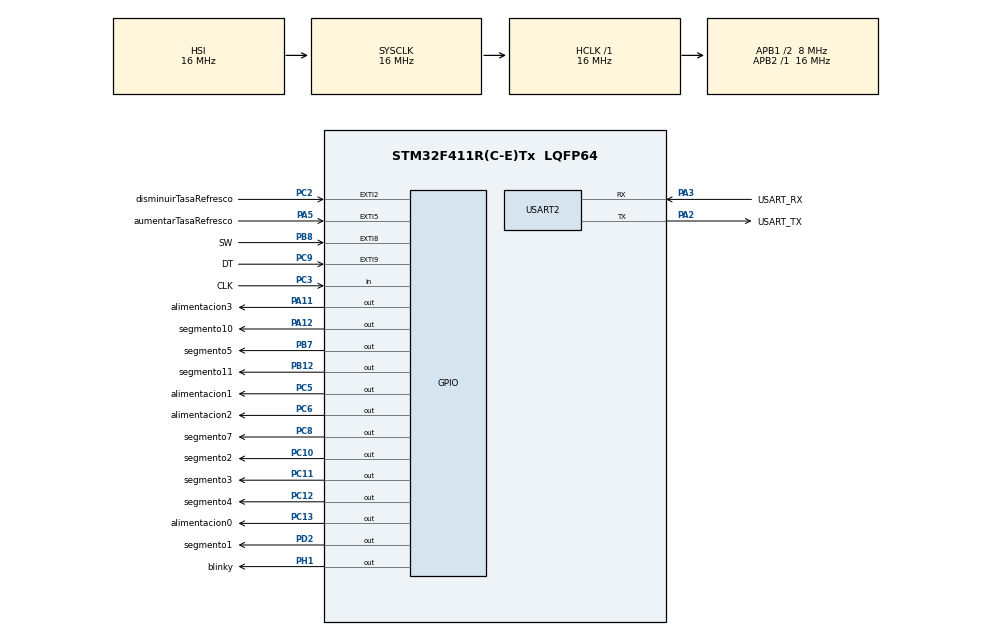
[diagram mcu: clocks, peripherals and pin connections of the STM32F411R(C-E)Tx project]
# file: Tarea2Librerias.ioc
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Mcu.Family=STM32F4
Mcu.Name=STM32F411R(C-E)Tx
Mcu.Package=LQFP64
NVIC.EXTI2_IRQn=true\:0\:0\:false\:false\:true\:true\:true\:true
NVIC.EXTI9_5_IRQn=true\:0\:0\:false\:false\:true\:true\:true\:true
NVIC.PriorityGroup=NVIC_PRIORITYGROUP_0
NVIC.TIM2_IRQn=true\:0\:0\:false\:false\:true\:true\:true\:true
NVIC.TIM3_IRQn=true\:0\:0\:false\:false\:true\:true\:true\:true
PA11.GPIO_Label=alimentacion3
PA11.GPIO_Speed=GPIO_SPEED_FREQ_MEDIUM
PA11.Signal=GPIO_Output
PA12.GPIO_Label=segmento10
PA12.GPIO_Speed=GPIO_SPEED_FREQ_MEDIUM
PA12.Signal=GPIO_Output
PA13.GPIO_Label=TMS
PA13.Mode=Serial_Wire
PA13.Signal=SYS_JTMS-SWDIO
PA14.GPIO_Label=TCK
PA14.Mode=Serial_Wire
PA14.Signal=SYS_JTCK-SWCLK
PA2.GPIO_Label=USART_TX
PA2.Mode=Asynchronous
PA2.Signal=USART2_TX
PA3.GPIO_Label=USART_RX
PA3.Mode=Asynchronous
PA3.Signal=USART2_RX
PA5.GPIO_Label=aumentarTasaRefresco
PA5.Signal=GPXTI5
PB12.GPIO_Label=segmento11
PB12.GPIO_Speed=GPIO_SPEED_FREQ_MEDIUM
PB12.Signal=GPIO_Output
PB3.GPIO_Label=SWO
PB3.Signal=SYS_JTDO-SWO
PB7.GPIO_Label=segmento5
PB7.GPIO_Speed=GPIO_SPEED_FREQ_MEDIUM
PB7.Signal=GPIO_Output
PB8.GPIO_Label=SW
PB8.Signal=GPXTI8
PC10.GPIO_Label=segmento2
PC10.GPIO_Speed=GPIO_SPEED_FREQ_MEDIUM
PC10.Signal=GPIO_Output
PC11.GPIO_Label=segmento3
PC11.GPIO_Speed=GPIO_SPEED_FREQ_MEDIUM
PC11.Signal=GPIO_Output
PC12.GPIO_Label=segmento4
PC12.GPIO_Speed=GPIO_SPEED_FREQ_MEDIUM
PC12.Signal=GPIO_Output
PC13-ANTI_TAMP.GPIO_Label=alimentacion0
PC13-ANTI_TAMP.Signal=GPIO_Output
PC14-OSC32_IN.Mode=LSE-External-Oscillator
PC14-OSC32_IN.Signal=RCC_OSC32_IN
PC15-OSC32_OUT.Mode=LSE-External-Oscillator
PC15-OSC32_OUT.Signal=RCC_OSC32_OUT
PC2.GPIO_Label=disminuirTasaRefresco
PC2.Signal=GPXTI2
PC3.GPIO_Label=CLK
PC3.Signal=GPIO_Input
PC5.GPIO_Label=alimentacion1
PC5.GPIO_Speed=GPIO_SPEED_FREQ_MEDIUM
PC5.Signal=GPIO_Output
PC6.GPIO_Label=alimentacion2
PC6.GPIO_Speed=GPIO_SPEED_FREQ_MEDIUM
PC6.Signal=GPIO_Output
PC8.GPIO_Label=segmento7
PC8.GPIO_Speed=GPIO_SPEED_FREQ_MEDIUM
PC8.Signal=GPIO_Output
PC9.GPIO_Label=DT
PC9.Signal=GPXTI9
PD2.GPIO_Label=segmento1
PD2.GPIO_Speed=GPIO_SPEED_FREQ_MEDIUM
PD2.Signal=GPIO_Output
PH0\ -\ OSC_IN.Signal=RCC_OSC_IN
PH1\ -\ OSC_OUT.GPIO_Label=blinky
PH1\ -\ OSC_OUT.GPIO_Speed=GPIO_SPEED_FREQ_MEDIUM
PH1\ -\ OSC_OUT.Signal=GPIO_Output
ProjectManager.HeapSize=0x200
ProjectManager.StackSize=0x400
ProjectManager.TargetToolchain=STM32CubeIDE
RCC.48MHZClocksFreq_Value=84000000
RCC.AHBFreq_Value=16000000
RCC.APB1CLKDivider=RCC_HCLK_DIV2
RCC.APB1Freq_Value=8000000
RCC.APB1TimFreq_Value=16000000
RCC.APB2Freq_Value=16000000
RCC.APB2TimFreq_Value=16000000
RCC.CortexFreq_Value=16000000
RCC.FLatency-AdvancedSettings=FLASH_LATENCY_0
RCC.HCLKFreq_Value=16000000
RCC.HSE_VALUE=8000000
RCC.HSI_VALUE=16000000
RCC.PLLN=336
RCC.PLLP=RCC_PLLP_DIV4
RCC.SYSCLKFreq_VALUE=16000000
RCC.VCOOutputFreq_Value=336000000
TIM2.Period=250-1
TIM2.Prescaler=16000-1
TIM3.Period=20
TIM3.Prescaler=16000-1
USART2.VirtualMode=VM_ASYNC
VP_TIM2_VS_ClockSourceINT.Mode=Internal
VP_TIM3_VS_ClockSourceINT.Mode=Internal
board=NUCLEO-F411RE

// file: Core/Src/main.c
/* USER CODE BEGIN Header */
/**
  ******************************************************************************
  * @file           : main.c
  * @brief          : Main program body
  ******************************************************************************
  * @attention
  *
  * Copyright (c) 2025 STMicroelectronics.
  * All rights reserved.
  *
  * This software is licensed under terms that can be found in the LICENSE file
  * in the root directory of this software component.
  * If no LICENSE file comes with this software, it is provided AS-IS.
  *
  ******************************************************************************
  */
/* USER CODE END Header */
#include "main.h"

/* USER CODE BEGIN PTD */
//Definimos una enumeracion con los diferentes estados que puede tener la maquina
typedef enum{
	refrescar,
	cambiar_numero,
	aumentar_tasa_refresco,
	disminuir_tasa_refresco,
	resetear,
	Blinky,
	IDLE
}posiblesEstados;

typedef struct
{
	posiblesEstados estado;
}estadoActual;

//Enumeramos las posibles partes que tenemos en numeroDisplay
typedef enum{
	unidad1 =0,
	decena1,
	centena1,
	milUnidad1,
}parteNumero;
/* USER CODE END PTD */

/* USER CODE BEGIN PD */
//Inicializamos la variable a la cual vamos a gurdarle el estado que
//tiene la maquina
estadoActual fsm ={0};

//Creamos la variable donde vamos a guardar el numero que se va a mostrar en el display
uint16_t numeroDisplay =0;

//Inicializamos las variables que van a permitir separar el numeroDisplay en 4 partes
uint8_t unidad = 0;
uint8_t decena = 0;
uint8_t centena = 0;
uint8_t milUnidad = 0;

//Inicializamos la variable donde guardamos que digito queremos encender (0,1,2,3)
uint8_t digito = 0;
//Inicializamos la variable que va a modificar la tasa de refresco
//Comenzamos con un periodo de 20ms
uint16_t tasa_refresco = 20;

/* USER CODE END PD */

TIM_HandleTypeDef htim2;
TIM_HandleTypeDef htim3;

UART_HandleTypeDef huart2;

void SystemClock_Config(void);
static void MX_GPIO_Init(void);
static void MX_USART2_UART_Init(void);
static void MX_TIM2_Init(void);
static void MX_TIM3_Init(void);
/* USER CODE BEGIN PFP */
/*
 * Declaramos la funciones que aparecerán próximamente
 */
//Funcion que define qué se va a hacer según el estado en el que se encuentre la maquina
void maquinaEstados(uint16_t numeroLocal,uint8_t digito);
//Funcion que separa el numeroDisplay en 4 partes (unidad, decena, centena, milUnidad)
uint16_t separacion_parte (parteNumero parte, uint16_t numeroDisplay);
//Funcion que nos permite encender el numero que queremos en el digito que queremos
void digito_encendido(uint8_t digito, uint8_t unidad,uint8_t decena, uint8_t centena, uint8_t milUnidad);
//Funcion que se encuentra dentro de "digito_encendido" para definir que numero
//quiero ver en cada digito
void definir_numero (uint8_t numero);
//Funcion para configurar los pines del 7 segmentos
void configurar7Segmentos();
//Funcion para configurar el pin del Blinky
void configurarTimers ();
//Funcion que configura los pines para el EXTI
void configurarExti ();
//Funcion para cambiar numero según el Encoder
uint16_t cambioNumero (uint16_t numeroDisplay);
/* USER CODE END PFP */

int main(void)
{

  /* MCU Configuration--------------------------------------------------------*/

  /* Reset of all peripherals, Initializes the Flash interface and the Systick. */
  HAL_Init();

  /* Configure the system clock */
  SystemClock_Config();

  /* USER CODE BEGIN SysInit */
  fsm.estado = refrescar;
  /* USER CODE END SysInit */

  /* Initialize all configured peripherals */
  MX_GPIO_Init();
  MX_USART2_UART_Init();
  MX_TIM2_Init();
  MX_TIM3_Init();
  /* USER CODE BEGIN 2 */
  //Activamos los timers y sus interrupciones
  HAL_TIM_Base_Start_IT(&htim2);
  HAL_TIM_Base_Start_IT(&htim3);
  /* USER CODE END 2 */

  /* Infinite loop */
  /* USER CODE BEGIN WHILE */
  while (1)
  {
	  if(fsm.estado != IDLE){
		  maquinaEstados(numeroDisplay,digito);
	  }
    /* USER CODE END WHILE */

    /* USER CODE BEGIN 3 */
  }
  return 0;
  /* USER CODE END 3 */
}

void SystemClock_Config(void)
{
  RCC_OscInitTypeDef RCC_OscInitStruct = {0};
  RCC_ClkInitTypeDef RCC_ClkInitStruct = {0};

  /** Configure the main internal regulator output voltage
  */
  __HAL_RCC_PWR_CLK_ENABLE();
  __HAL_PWR_VOLTAGESCALING_CONFIG(PWR_REGULATOR_VOLTAGE_SCALE1);

  /** Initializes the RCC Oscillators according to the specified parameters
  * in the RCC_OscInitTypeDef structure.
  */
  RCC_OscInitStruct.OscillatorType = RCC_OSCILLATORTYPE_HSI;
  RCC_OscInitStruct.HSIState = RCC_HSI_ON;
  RCC_OscInitStruct.HSICalibrationValue = RCC_HSICALIBRATION_DEFAULT;
  RCC_OscInitStruct.PLL.PLLState = RCC_PLL_NONE;
  if (HAL_RCC_OscConfig(&RCC_OscInitStruct) != HAL_OK)
  {
    Error_Handler();
  }

  /** Initializes the CPU, AHB and APB buses clocks
  */
  RCC_ClkInitStruct.ClockType = RCC_CLOCKTYPE_HCLK|RCC_CLOCKTYPE_SYSCLK
                              |RCC_CLOCKTYPE_PCLK1|RCC_CLOCKTYPE_PCLK2;
  RCC_ClkInitStruct.SYSCLKSource = RCC_SYSCLKSOURCE_HSI;
  RCC_ClkInitStruct.AHBCLKDivider = RCC_SYSCLK_DIV1;
  RCC_ClkInitStruct.APB1CLKDivider = RCC_HCLK_DIV2;
  RCC_ClkInitStruct.APB2CLKDivider = RCC_HCLK_DIV1;

  if (HAL_RCC_ClockConfig(&RCC_ClkInitStruct, FLASH_LATENCY_0) != HAL_OK)
  {
    Error_Handler();
  }
}

static void MX_TIM2_Init(void)
{

  TIM_ClockConfigTypeDef sClockSourceConfig = {0};
  TIM_MasterConfigTypeDef sMasterConfig = {0};

  htim2.Instance = TIM2;
  htim2.Init.Prescaler = 16000-1;
  htim2.Init.CounterMode = TIM_COUNTERMODE_UP;
  htim2.Init.Period = 250-1;
  htim2.Init.ClockDivision = TIM_CLOCKDIVISION_DIV1;
  htim2.Init.AutoReloadPreload = TIM_AUTORELOAD_PRELOAD_DISABLE;
  if (HAL_TIM_Base_Init(&htim2) != HAL_OK)
  {
    Error_Handler();
  }
  sClockSourceConfig.ClockSource = TIM_CLOCKSOURCE_INTERNAL;
  if (HAL_TIM_ConfigClockSource(&htim2, &sClockSourceConfig) != HAL_OK)
  {
    Error_Handler();
  }
  sMasterConfig.MasterOutputTrigger = TIM_TRGO_RESET;
  sMasterConfig.MasterSlaveMode = TIM_MASTERSLAVEMODE_DISABLE;
  if (HAL_TIMEx_MasterConfigSynchronization(&htim2, &sMasterConfig) != HAL_OK)
  {
    Error_Handler();
  }

}

static void MX_TIM3_Init(void)
{

  TIM_ClockConfigTypeDef sClockSourceConfig = {0};
  TIM_MasterConfigTypeDef sMasterConfig = {0};

  htim3.Instance = TIM3;
  htim3.Init.Prescaler = 16000-1;
  htim3.Init.CounterMode = TIM_COUNTERMODE_UP;
  htim3.Init.Period = 20;
  htim3.Init.ClockDivision = TIM_CLOCKDIVISION_DIV1;
  htim3.Init.AutoReloadPreload = TIM_AUTORELOAD_PRELOAD_DISABLE;
  if (HAL_TIM_Base_Init(&htim3) != HAL_OK)
  {
    Error_Handler();
  }
  sClockSourceConfig.ClockSource = TIM_CLOCKSOURCE_INTERNAL;
  if (HAL_TIM_ConfigClockSource(&htim3, &sClockSourceConfig) != HAL_OK)
  {
    Error_Handler();
  }
  sMasterConfig.MasterOutputTrigger = TIM_TRGO_RESET;
  sMasterConfig.MasterSlaveMode = TIM_MASTERSLAVEMODE_DISABLE;
  if (HAL_TIMEx_MasterConfigSynchronization(&htim3, &sMasterConfig) != HAL_OK)
  {
    Error_Handler();
  }

}

static void MX_USART2_UART_Init(void)
{

  huart2.Instance = USART2;
  huart2.Init.BaudRate = 115200;
  huart2.Init.WordLength = UART_WORDLENGTH_8B;
  huart2.Init.StopBits = UART_STOPBITS_1;
  huart2.Init.Parity = UART_PARITY_NONE;
  huart2.Init.Mode = UART_MODE_TX_RX;
  huart2.Init.HwFlowCtl = UART_HWCONTROL_NONE;
  huart2.Init.OverSampling = UART_OVERSAMPLING_16;
  if (HAL_UART_Init(&huart2) != HAL_OK)
  {
    Error_Handler();
  }

}

static void MX_GPIO_Init(void)
{
  GPIO_InitTypeDef GPIO_InitStruct = {0};

  /* GPIO Ports Clock Enable */
  __HAL_RCC_GPIOC_CLK_ENABLE();
  __HAL_RCC_GPIOH_CLK_ENABLE();
  __HAL_RCC_GPIOA_CLK_ENABLE();
  __HAL_RCC_GPIOB_CLK_ENABLE();
  __HAL_RCC_GPIOD_CLK_ENABLE();

  /*Configure GPIO pin Output Level */
  HAL_GPIO_WritePin(GPIOC, alimentacion0_Pin|alimentacion1_Pin|alimentacion2_Pin|segmento7_Pin
                          |segmento2_Pin|segmento3_Pin|segmento4_Pin, GPIO_PIN_RESET);

  /*Configure GPIO pin Output Level */
  HAL_GPIO_WritePin(blinky_GPIO_Port, blinky_Pin, GPIO_PIN_RESET);

  /*Configure GPIO pin Output Level */
  HAL_GPIO_WritePin(GPIOB, segmento11_Pin|segmento5_Pin, GPIO_PIN_RESET);

  /*Configure GPIO pin Output Level */
  HAL_GPIO_WritePin(GPIOA, alimentacion3_Pin|segmento10_Pin, GPIO_PIN_RESET);

  /*Configure GPIO pin Output Level */
  HAL_GPIO_WritePin(segmento1_GPIO_Port, segmento1_Pin, GPIO_PIN_RESET);

  /*Configure GPIO pin : alimentacion0_Pin */
  GPIO_InitStruct.Pin = alimentacion0_Pin;
  GPIO_InitStruct.Mode = GPIO_MODE_OUTPUT_PP;
  GPIO_InitStruct.Pull = GPIO_NOPULL;
  GPIO_InitStruct.Speed = GPIO_SPEED_FREQ_LOW;
  HAL_GPIO_Init(alimentacion0_GPIO_Port, &GPIO_InitStruct);

  /*Configure GPIO pin : blinky_Pin */
  GPIO_InitStruct.Pin = blinky_Pin;
  GPIO_InitStruct.Mode = GPIO_MODE_OUTPUT_PP;
  GPIO_InitStruct.Pull = GPIO_NOPULL;
  GPIO_InitStruct.Speed = GPIO_SPEED_FREQ_MEDIUM;
  HAL_GPIO_Init(blinky_GPIO_Port, &GPIO_InitStruct);

  /*Configure GPIO pins : disminuirTasaRefresco_Pin DT_Pin */
  GPIO_InitStruct.Pin = disminuirTasaRefresco_Pin|DT_Pin;
  GPIO_InitStruct.Mode = GPIO_MODE_IT_RISING;
  GPIO_InitStruct.Pull = GPIO_NOPULL;
  HAL_GPIO_Init(GPIOC, &GPIO_InitStruct);

  /*Configure GPIO pin : CLK_Pin */
  GPIO_InitStruct.Pin = CLK_Pin;
  GPIO_InitStruct.Mode = GPIO_MODE_INPUT;
  GPIO_InitStruct.Pull = GPIO_NOPULL;
  HAL_GPIO_Init(CLK_GPIO_Port, &GPIO_InitStruct);

  /*Configure GPIO pin : aumentarTasaRefresco_Pin */
  GPIO_InitStruct.Pin = aumentarTasaRefresco_Pin;
  GPIO_InitStruct.Mode = GPIO_MODE_IT_RISING;
  GPIO_InitStruct.Pull = GPIO_NOPULL;
  HAL_GPIO_Init(aumentarTasaRefresco_GPIO_Port, &GPIO_InitStruct);

  /*Configure GPIO pins : alimentacion1_Pin alimentacion2_Pin segmento7_Pin segmento2_Pin
                           segmento3_Pin segmento4_Pin */
  GPIO_InitStruct.Pin = alimentacion1_Pin|alimentacion2_Pin|segmento7_Pin|segmento2_Pin
                          |segmento3_Pin|segmento4_Pin;
  GPIO_InitStruct.Mode = GPIO_MODE_OUTPUT_PP;
  GPIO_InitStruct.Pull = GPIO_NOPULL;
  GPIO_InitStruct.Speed = GPIO_SPEED_FREQ_MEDIUM;
  HAL_GPIO_Init(GPIOC, &GPIO_InitStruct);

  /*Configure GPIO pins : segmento11_Pin segmento5_Pin */
  GPIO_InitStruct.Pin = segmento11_Pin|segmento5_Pin;
  GPIO_InitStruct.Mode = GPIO_MODE_OUTPUT_PP;
  GPIO_InitStruct.Pull = GPIO_NOPULL;
  GPIO_InitStruct.Speed = GPIO_SPEED_FREQ_MEDIUM;
  HAL_GPIO_Init(GPIOB, &GPIO_InitStruct);

  /*Configure GPIO pins : alimentacion3_Pin segmento10_Pin */
  GPIO_InitStruct.Pin = alimentacion3_Pin|segmento10_Pin;
  GPIO_InitStruct.Mode = GPIO_MODE_OUTPUT_PP;
  GPIO_InitStruct.Pull = GPIO_NOPULL;
  GPIO_InitStruct.Speed = GPIO_SPEED_FREQ_MEDIUM;
  HAL_GPIO_Init(GPIOA, &GPIO_InitStruct);

  /*Configure GPIO pin : segmento1_Pin */
  GPIO_InitStruct.Pin = segmento1_Pin;
  GPIO_InitStruct.Mode = GPIO_MODE_OUTPUT_PP;
  GPIO_InitStruct.Pull = GPIO_NOPULL;
  GPIO_InitStruct.Speed = GPIO_SPEED_FREQ_MEDIUM;
  HAL_GPIO_Init(segmento1_GPIO_Port, &GPIO_InitStruct);

  /*Configure GPIO pin : SW_Pin */
  GPIO_InitStruct.Pin = SW_Pin;
  GPIO_InitStruct.Mode = GPIO_MODE_IT_RISING;
  GPIO_InitStruct.Pull = GPIO_NOPULL;
  HAL_GPIO_Init(SW_GPIO_Port, &GPIO_InitStruct);

  /* EXTI interrupt init*/
  HAL_NVIC_SetPriority(EXTI2_IRQn, 0, 0);
  HAL_NVIC_EnableIRQ(EXTI2_IRQn);

  HAL_NVIC_SetPriority(EXTI9_5_IRQn, 0, 0);
  HAL_NVIC_EnableIRQ(EXTI9_5_IRQn);

}

/* USER CODE BEGIN 4 */
uint16_t separacion_parte (parteNumero parte, uint16_t numeroDisplay){
	switch (parte){
	case unidad1:{
		uint8_t unidad = 0;
		unidad = numeroDisplay%10;
		return unidad;
		break;
	}
	case decena1: {
		uint8_t unidad = 0;
		uint8_t decena = 0;
		unidad = numeroDisplay%10;
		decena = ((numeroDisplay-unidad)/10)%10;
		return decena;
		break;
	}
	case centena1:{
		uint8_t residuoCentena = 0;
		uint8_t centena = 0;
		residuoCentena = numeroDisplay%100;
		centena = ((numeroDisplay - residuoCentena)/100)%10;
		return centena;
		break;
	}
	case milUnidad1: {
		uint8_t residuoMil = 0;
		residuoMil = numeroDisplay%1000;
		uint8_t milUnidad = 0;
		milUnidad = (numeroDisplay-residuoMil)/1000;
		return milUnidad;
		break;
	}
	default:{
		return 0;
	}
	}//Fin del Switch case
}

/*
 * Creamos la funcion que le indica a la maquina de estados que debe hacer para cada caso
 */
void maquinaEstados(uint16_t numeroLocal, uint8_t digito){
	switch (fsm.estado){
	case refrescar:{
		//Apagamos todos los digitos
		HAL_GPIO_WritePin(alimentacion0_GPIO_Port, alimentacion0_Pin, GPIO_PIN_SET);
		HAL_GPIO_WritePin(alimentacion1_GPIO_Port, alimentacion1_Pin, GPIO_PIN_SET);
		HAL_GPIO_WritePin(alimentacion2_GPIO_Port, alimentacion2_Pin, GPIO_PIN_SET);
		HAL_GPIO_WritePin(alimentacion3_GPIO_Port, alimentacion3_Pin, GPIO_PIN_SET);

		// Vamos a dividir el numeroDisplay en unidades, decenas, centenas y unidades de mil.
		unidad =  separacion_parte (unidad1, numeroDisplay);
		decena = separacion_parte (decena1, numeroDisplay);
		centena = separacion_parte (centena1, numeroDisplay);
		milUnidad = separacion_parte (milUnidad1, numeroDisplay);
		//Llamamos a la funcion que nos indica qué pines deben estar encendidos en el digito
		//que deseo mostrar
		digito_encendido(digito,unidad, decena, centena, milUnidad);
		break;
	}
	case cambiar_numero: {
		//Llamamos a la funcion encargada de cambiar el numero
		//debido a la interrupcion
		numeroDisplay = cambioNumero (numeroLocal);
		//Volvemos al estado refrescar
		fsm.estado = refrescar;
		break;
	}
	case aumentar_tasa_refresco:{
		// Apagamos el Timer.
		HAL_TIM_Base_Stop_IT(&htim3);
		//Nos aseguramos de que la tasa de refresco no vaya a sea menor a 1ms
		if (tasa_refresco<=1){
			tasa_refresco = 20;
		}
		//Disminuimos a la mitad ms la tasa de refresco
		else {
			tasa_refresco/=2;
		}

		//Configuramos el refresh Timer
		htim3.Init.Period = tasa_refresco;
		//Guardamos las nuevas configuraciones
		HAL_TIM_Base_Init(&htim3);
		// Encendemos nuevamente el Timer
		HAL_TIM_Base_Start_IT(&htim3);
		fsm.estado = refrescar;
		break;
	}
	case disminuir_tasa_refresco:{
		// Apagamos el Timer.
		HAL_TIM_Base_Stop_IT(&htim3);
		//Nos aseguramos de que la tasa de refresco no vaya a ser mayor de 1000 ms
		if (tasa_refresco>=1000){
			//Llevamos a la tasa de refresco a su estado inicial
			tasa_refresco =15;
		}
		else{
			//Aumentamos la tasa de refresco multiplicando por 2
			tasa_refresco*=2;
		}
		//Configuramos el refresh Timer
		htim3.Init.Period = tasa_refresco;
		//Guardamos las nuevas configuraciones
		HAL_TIM_Base_Init(&htim3);
		// Encendemos nuevamente el Timer
		HAL_TIM_Base_Start_IT(&htim3);
		//Volvemos al estado refrescar
		fsm.estado = refrescar;
		break;
	}
	case resetear:{
		//Con el SWITCH vamos a reiniciar nuestro contador
		numeroDisplay = 0;
		//Volvemos al estado refrescar
		fsm.estado = refrescar;
	}
	case Blinky:{
		//Encendemos o apagamos el led
		HAL_GPIO_TogglePin(GPIOH, GPIO_PIN_1);
		//Volvemos al estado refrescar
		fsm.estado = refrescar;
	}
	case IDLE:{
		//En esta funcion no se hace absolutamente nada
		break;
	}
	default:{
		__NOP();
		break;
	}
	}//Fin del Switch case
}
/*
 * Funcion que determina qué digito tenemos encendido
 */
void digito_encendido(uint8_t digito, uint8_t unidad,uint8_t decena, uint8_t centena, uint8_t milUnidad){
	switch (digito){
	//Caso en el cual queremos ver el numero en el digito de las unidades
	case 0: {
		//Encendemos los pines correspondientes al numero que se desea
		definir_numero (unidad);
		//Encedemos el digito (1) donde se va a mostrar el numero seleccionado anteriormente
		HAL_GPIO_WritePin(alimentacion0_GPIO_Port, alimentacion0_Pin, GPIO_PIN_RESET);
		break;
	}
	case 1: {
		//Encendemos los pines correspondientes al numero que se desea
		definir_numero (decena);
		//Encedemos el digito (1) donde se va a mostrar el numero seleccionado anteriormente
		HAL_GPIO_WritePin(alimentacion1_GPIO_Port, alimentacion1_Pin, GPIO_PIN_RESET);
		break;
	}
	case 2:{
		//Encendemos los pines correspondientes al numero que se desea
		definir_numero (centena);
		//Encedemos el digito (1) donde se va a mostrar el numero seleccionado anteriormente
		HAL_GPIO_WritePin(alimentacion2_GPIO_Port, alimentacion2_Pin, GPIO_PIN_RESET);
		break;
	}
	case 3:{
		//Encendemos los pines correspondientes al numero que se desea
		definir_numero (milUnidad);
		//Encedemos el digito (1) donde se va a mostrar el numero seleccionado anteriormente
		HAL_GPIO_WritePin(alimentacion3_GPIO_Port, alimentacion3_Pin, GPIO_PIN_RESET);
		break;
	}
	default:{
		__NOP();
		break;
	}
	}// Fin del Switch-case
}
/*
 * Funcion que determina que numero vamos a mostrar
 */
void definir_numero (uint8_t numero){
	switch (numero){
	case 0: {
		HAL_GPIO_WritePin(segmento1_GPIO_Port, segmento1_Pin, GPIO_PIN_RESET);
		HAL_GPIO_WritePin(segmento2_GPIO_Port, segmento2_Pin, GPIO_PIN_RESET);
		HAL_GPIO_WritePin(segmento3_GPIO_Port, segmento3_Pin, GPIO_PIN_SET);
		HAL_GPIO_WritePin(segmento4_GPIO_Port, segmento4_Pin, GPIO_PIN_RESET);
		HAL_GPIO_WritePin(segmento5_GPIO_Port, segmento5_Pin, GPIO_PIN_SET);
		HAL_GPIO_WritePin(segmento7_GPIO_Port, segmento7_Pin, GPIO_PIN_RESET);
		HAL_GPIO_WritePin(segmento10_GPIO_Port, segmento10_Pin, GPIO_PIN_RESET);
		HAL_GPIO_WritePin(segmento11_GPIO_Port, segmento11_Pin, GPIO_PIN_RESET);
		break;
	}
	case 1: {
		HAL_GPIO_WritePin(segmento1_GPIO_Port, segmento1_Pin, GPIO_PIN_SET);
		HAL_GPIO_WritePin(segmento2_GPIO_Port, segmento2_Pin, GPIO_PIN_SET);
		HAL_GPIO_WritePin(segmento3_GPIO_Port, segmento3_Pin, GPIO_PIN_SET);
		HAL_GPIO_WritePin(segmento4_GPIO_Port, segmento4_Pin, GPIO_PIN_RESET);
		HAL_GPIO_WritePin(segmento5_GPIO_Port, segmento5_Pin, GPIO_PIN_SET);
		HAL_GPIO_WritePin(segmento7_GPIO_Port, segmento7_Pin, GPIO_PIN_RESET);
		HAL_GPIO_WritePin(segmento10_GPIO_Port, segmento10_Pin, GPIO_PIN_SET);
		HAL_GPIO_WritePin(segmento11_GPIO_Port, segmento11_Pin, GPIO_PIN_SET);
		break;
	}
	case 2: {
		HAL_GPIO_WritePin(segmento1_GPIO_Port, segmento1_Pin, GPIO_PIN_RESET);
		HAL_GPIO_WritePin(segmento2_GPIO_Port, segmento2_Pin, GPIO_PIN_RESET);
		HAL_GPIO_WritePin(segmento3_GPIO_Port, segmento3_Pin, GPIO_PIN_SET);
		HAL_GPIO_WritePin(segmento4_GPIO_Port, segmento4_Pin, GPIO_PIN_SET);
		HAL_GPIO_WritePin(segmento5_GPIO_Port, segmento5_Pin, GPIO_PIN_RESET);
		HAL_GPIO_WritePin(segmento7_GPIO_Port, segmento7_Pin, GPIO_PIN_RESET);
		HAL_GPIO_WritePin(segmento10_GPIO_Port, segmento10_Pin, GPIO_PIN_SET);
		HAL_GPIO_WritePin(segmento11_GPIO_Port, segmento11_Pin, GPIO_PIN_RESET);
		break;
	}
	case 3: {
		HAL_GPIO_WritePin(segmento1_GPIO_Port, segmento1_Pin, GPIO_PIN_SET);
		HAL_GPIO_WritePin(segmento2_GPIO_Port, segmento2_Pin, GPIO_PIN_RESET);
		HAL_GPIO_WritePin(segmento3_GPIO_Port, segmento3_Pin, GPIO_PIN_SET);
		HAL_GPIO_WritePin(segmento4_GPIO_Port, segmento4_Pin, GPIO_PIN_RESET);
		HAL_GPIO_WritePin(segmento5_GPIO_Port, segmento5_Pin, GPIO_PIN_RESET);
		HAL_GPIO_WritePin(segmento7_GPIO_Port, segmento7_Pin, GPIO_PIN_RESET);
		HAL_GPIO_WritePin(segmento10_GPIO_Port, segmento10_Pin, GPIO_PIN_SET);
		HAL_GPIO_WritePin(segmento11_GPIO_Port, segmento11_Pin, GPIO_PIN_RESET);
		break;
	}
	case 4: {
		HAL_GPIO_WritePin(segmento1_GPIO_Port, segmento1_Pin, GPIO_PIN_SET);
		HAL_GPIO_WritePin(segmento2_GPIO_Port, segmento2_Pin, GPIO_PIN_SET);
		HAL_GPIO_WritePin(segmento3_GPIO_Port, segmento3_Pin, GPIO_PIN_SET);
		HAL_GPIO_WritePin(segmento4_GPIO_Port, segmento4_Pin, GPIO_PIN_RESET);
		HAL_GPIO_WritePin(segmento5_GPIO_Port, segmento5_Pin, GPIO_PIN_RESET);
		HAL_GPIO_WritePin(segmento7_GPIO_Port, segmento7_Pin, GPIO_PIN_RESET);
		HAL_GPIO_WritePin(segmento10_GPIO_Port, segmento10_Pin, GPIO_PIN_RESET);
		HAL_GPIO_WritePin(segmento11_GPIO_Port, segmento11_Pin, GPIO_PIN_SET);
		break;
	}
	case 5: {
		HAL_GPIO_WritePin(segmento1_GPIO_Port, segmento1_Pin, GPIO_PIN_SET);
		HAL_GPIO_WritePin(segmento2_GPIO_Port, segmento2_Pin, GPIO_PIN_RESET);
		HAL_GPIO_WritePin(segmento3_GPIO_Port, segmento3_Pin, GPIO_PIN_SET);
		HAL_GPIO_WritePin(segmento4_GPIO_Port, segmento4_Pin, GPIO_PIN_RESET);
		HAL_GPIO_WritePin(segmento5_GPIO_Port, segmento5_Pin, GPIO_PIN_RESET);
		HAL_GPIO_WritePin(segmento7_GPIO_Port, segmento7_Pin, GPIO_PIN_SET);
		HAL_GPIO_WritePin(segmento10_GPIO_Port, segmento10_Pin, GPIO_PIN_RESET);
		HAL_GPIO_WritePin(segmento11_GPIO_Port, segmento11_Pin, GPIO_PIN_RESET);
		break;
	}
	case 6: {
		HAL_GPIO_WritePin(segmento1_GPIO_Port, segmento1_Pin, GPIO_PIN_RESET);
		HAL_GPIO_WritePin(segmento2_GPIO_Port, segmento2_Pin, GPIO_PIN_RESET);
		HAL_GPIO_WritePin(segmento3_GPIO_Port, segmento3_Pin, GPIO_PIN_SET);
		HAL_GPIO_WritePin(segmento4_GPIO_Port, segmento4_Pin, GPIO_PIN_RESET);
		HAL_GPIO_WritePin(segmento5_GPIO_Port, segmento5_Pin, GPIO_PIN_RESET);
		HAL_GPIO_WritePin(segmento7_GPIO_Port, segmento7_Pin, GPIO_PIN_SET);
		HAL_GPIO_WritePin(segmento10_GPIO_Port, segmento10_Pin, GPIO_PIN_RESET);
		HAL_GPIO_WritePin(segmento11_GPIO_Port, segmento11_Pin, GPIO_PIN_RESET);
		break;
	}
	case 7: {
		HAL_GPIO_WritePin(segmento1_GPIO_Port, segmento1_Pin, GPIO_PIN_SET);
		HAL_GPIO_WritePin(segmento2_GPIO_Port, segmento2_Pin, GPIO_PIN_SET);
		HAL_GPIO_WritePin(segmento3_GPIO_Port, segmento3_Pin, GPIO_PIN_SET);
		HAL_GPIO_WritePin(segmento4_GPIO_Port, segmento4_Pin, GPIO_PIN_RESET);
		HAL_GPIO_WritePin(segmento5_GPIO_Port, segmento5_Pin, GPIO_PIN_SET);
		HAL_GPIO_WritePin(segmento7_GPIO_Port, segmento7_Pin, GPIO_PIN_RESET);
		HAL_GPIO_WritePin(segmento10_GPIO_Port, segmento10_Pin, GPIO_PIN_SET);
		HAL_GPIO_WritePin(segmento11_GPIO_Port, segmento11_Pin, GPIO_PIN_RESET);
		break;
	}
	case 8: {
		HAL_GPIO_WritePin(segmento1_GPIO_Port, segmento1_Pin, GPIO_PIN_RESET);
		HAL_GPIO_WritePin(segmento2_GPIO_Port, segmento2_Pin, GPIO_PIN_RESET);
		HAL_GPIO_WritePin(segmento3_GPIO_Port, segmento3_Pin, GPIO_PIN_SET);
		HAL_GPIO_WritePin(segmento4_GPIO_Port, segmento4_Pin, GPIO_PIN_RESET);
		HAL_GPIO_WritePin(segmento5_GPIO_Port, segmento5_Pin, GPIO_PIN_RESET);
		HAL_GPIO_WritePin(segmento7_GPIO_Port, segmento7_Pin, GPIO_PIN_RESET);
		HAL_GPIO_WritePin(segmento10_GPIO_Port, segmento10_Pin, GPIO_PIN_RESET);
		HAL_GPIO_WritePin(segmento11_GPIO_Port, segmento11_Pin, GPIO_PIN_RESET);
		break;
	}
	case 9: {
		HAL_GPIO_WritePin(segmento1_GPIO_Port, segmento1_Pin, GPIO_PIN_SET);
		HAL_GPIO_WritePin(segmento2_GPIO_Port, segmento2_Pin, GPIO_PIN_RESET);
		HAL_GPIO_WritePin(segmento3_GPIO_Port, segmento3_Pin, GPIO_PIN_SET);
		HAL_GPIO_WritePin(segmento4_GPIO_Port, segmento4_Pin, GPIO_PIN_RESET);
		HAL_GPIO_WritePin(segmento5_GPIO_Port, segmento5_Pin, GPIO_PIN_RESET);
		HAL_GPIO_WritePin(segmento7_GPIO_Port, segmento7_Pin, GPIO_PIN_RESET);
		HAL_GPIO_WritePin(segmento10_GPIO_Port, segmento10_Pin, GPIO_PIN_RESET);
		HAL_GPIO_WritePin(segmento11_GPIO_Port, segmento11_Pin, GPIO_PIN_RESET);
		break;
	}
	default: {
		__NOP();
		break;
	}
	}// Fin del switch-case

}
uint16_t cambioNumero (uint16_t numeroLocal){
	//Creamos una variable en la cual guardamos el valor del pin
	//donde está el DT
	uint32_t valor_DT = 0;
	//Cargamos el valor del pin en la variable
	valor_DT = HAL_GPIO_ReadPin(CLK_GPIO_Port, CLK_Pin);
	//Comparamos las posibles opciones
	switch (valor_DT){
	//Cuando el pin DT está en o
	case 0: {
		//Nos aseguramos de que el numeroDisplay no vaya a ser mayor ue 4095
		if (numeroLocal>=4095){
			//Devolvemos el valor de numeroDisplay a 0
			numeroLocal=0;
			//Retornamos el valor numeroLocal
			return numeroLocal;
		}
		else {
			//Le sumamos una unidad a la variable numeroDisplay
			numeroLocal ++;
			//Retornamos el valor numeroLocal
			return numeroLocal;
		}
		break;
	}

	case 1: {
		//Nos aseguramos de que el numeroDisplay no vaya a ser menor que cero
		if (numeroLocal==0){
			//Lo devolvemos a 4095
			numeroLocal =4095;
			//Retornamos el valor numeroLocal
			return numeroLocal;
		}
		else {
			//Le restamos a numeroDisplay una unidad
			numeroLocal --;
			//Retornamos el valor numeroLocal
			return numeroLocal;
		}
		break;

	}
	default:{
		//Retornamos el valor numeroLocal
		return numeroLocal;
		break;
	}
	}
}
//Callback del timer2 para la funcion del blinky
void HAL_TIM_PeriodElapsedCallback(TIM_HandleTypeDef *htim){
	if (htim->Instance ==TIM2){
		fsm.estado = Blinky;
	}
	else if (htim->Instance == TIM3){
		digito +=1;
		//Debemos cersiorarnos de que el digito que queremos encender no tenga un
		//valor mayor a 3 (ya que solo tenemos 4 digitos)
		if (digito >= 4){
			digito=0;
		}
	}

}
void HAL_GPIO_EXTI_Callback(uint16_t GPIO_Pin){
	if (GPIO_Pin == GPIO_PIN_9){
		//Cambiamos el estado a "cambiar numero"
		fsm.estado = cambiar_numero;
	}
	else if (GPIO_Pin == GPIO_PIN_5){
		//cambiamos el estado a "aumentar tasa de refresco"
		fsm.estado = aumentar_tasa_refresco;
	}
	else if (GPIO_Pin == GPIO_PIN_2){
		//Cambiamos el estado a "disminuir tasa de refresco"
		fsm.estado = disminuir_tasa_refresco;
	}
	else if (GPIO_Pin == GPIO_PIN_8){
		//Cambiamos el estado a resetear
		fsm.estado = resetear;
	}
}

/* USER CODE END 4 */

void Error_Handler(void)
{
  __disable_irq();
  while (1)
  {
  }
}
